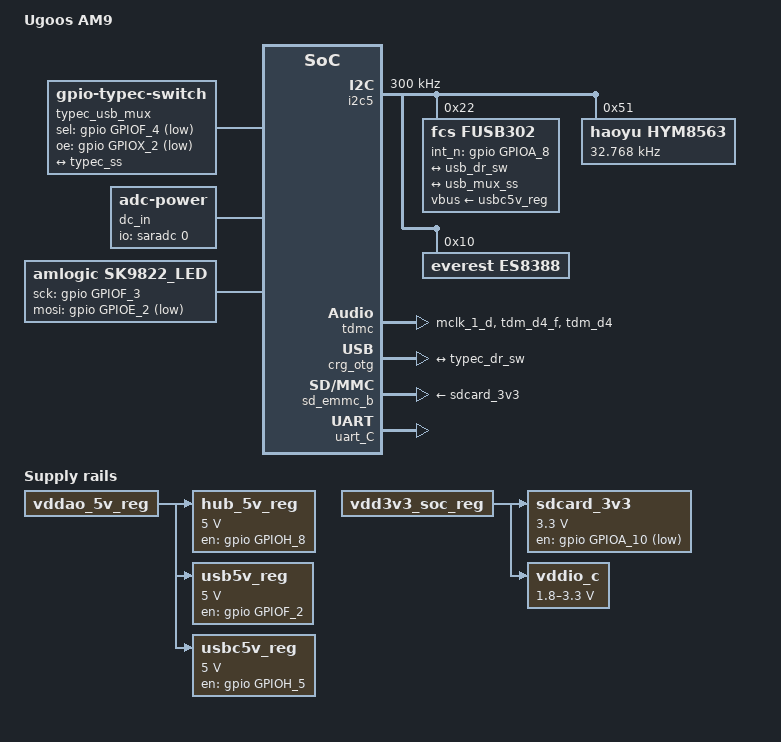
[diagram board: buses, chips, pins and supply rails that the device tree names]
#include "s6_s905x5_bl201.dts"
#include "coreelec_s6_common.dtsi"
#include "dt-bindings/usb/pd.h"

/ {
	model = "Ugoos AM9";
	coreelec-dt-id = "s6_s905x5_ugoos_am9";
	amlogic-dt-id = "s6_s905x5_umx5yks";

	// 4gb
	memory@00000000 {
		device_type = "memory";
		linux,usable-memory = <0x0 0x000000 0x0 0xe0000000
					0x1 0x000000 0x0 0x20000000>;
	};

	auge_sound {
		/delete-property/ avout_mute-gpios;

		aml-audio-card,dai-link@1 {
			codec {
				sound-dai = <&es8388>;
			};
		};
	};

	/delete-node/ gpioleds;

	/delete-node/ fixed@vcc5v_reg;
	/delete-node/ fixed@vcc3v3_reg;

	hub_5v_reg: fixed@hub_5v_reg {
		vin-supply = <&vddao_5v_reg>;
		compatible = "regulator-fixed";
		regulator-name = "HUB_5V";
		regulator-min-microvolt = <5000000>;
		regulator-max-microvolt = <5000000>;
		pinctrl-names = "default";
		gpio = <&gpio GPIOH_8 (GPIO_ACTIVE_HIGH | GPIO_OPEN_DRAIN)>;
		enable-active-high;
		regulator-boot-on;
		regulator-always-on;
	};

	sdcard_3v3: sdcard-3v3 {
		compatible = "regulator-fixed";
		regulator-name = "SD_3V3";
		vin-supply = <&vdd3v3_soc_reg>;
		regulator-min-microvolt = <3300000>;
		regulator-max-microvolt = <3300000>;
		gpio = <&gpio GPIOA_10 GPIO_ACTIVE_LOW>;
		enable-active-low; //3.3V , high: 0V
		regulator-boot-on;
	};

	vddio_c: sdcard-1v8_3v3 {
		compatible = "regulator-gpio";
		regulator-name = "VDDIO_C";
		vin-supply = <&vdd3v3_soc_reg>;
		regulator-min-microvolt = <1800000>;
		regulator-max-microvolt = <3300000>;
		// H: 1.8V, L: 3.3V
		gpio = <&gpio GPIOA_11 GPIO_ACTIVE_HIGH>;
		gpios-states = <0>;

		/* Based on P200 schematics, signal CARD_1.8V/3.3V_CTR */
		states = <1800000 1
			  3300000 0>;
	};

	// usb
	usb5v_reg: fixed@usb5v {
		vin-supply = <&vddao_5v_reg>;
		compatible = "regulator-fixed";
		regulator-name = "USB5V";
		regulator-min-microvolt = <5000000>;
		regulator-max-microvolt = <5000000>;
		pinctrl-names = "default";
		gpio = <&gpio GPIOF_2 GPIO_ACTIVE_HIGH>;
		enable-active-high;
		regulator-boot-on;
		regulator-always-on;
	};

	// usbc
	usbc5v_reg: fixed@usbc5v {
		vin-supply = <&vddao_5v_reg>;
		compatible = "regulator-fixed";
		regulator-name = "USBC5V";
		regulator-min-microvolt = <5000000>;
		regulator-max-microvolt = <5000000>;
		pinctrl-names = "default";
		gpio = <&gpio GPIOH_5 GPIO_ACTIVE_HIGH>;
		enable-active-high;
		early-suspend;
		regulator-boot-on;
		regulator-always-on;
	};

	typec_usb_mux: usb-mux {
		compatible = "gpio-typec-switch";
		sel-gpios = <&gpio GPIOF_4 GPIO_ACTIVE_LOW>;
		oe-gpios = <&gpio GPIOX_2 GPIO_ACTIVE_LOW>;

		orientation-switch;
		port {
			usb_mux_ss: endpoint {
				remote-endpoint = <&typec_ss>;
			};
		};
	};

	dc_in {
		compatible = "adc-power";
		name = "dc_in";
		voltage_k = <8740>;
		io-channels = <&saradc 0>;
		io-channel-names = "voltage";
	};

	gpio_keypad{
		key_num = <1>;
		key_name = "power";
		key_code = <116>;
		key-gpios = <&gpio GPIOD_2 GPIO_ACTIVE_HIGH>;
	};

	led {
		compatible = "amlogic,sk9822_led";
		status = "okay";
		/* SPI mode 3 */
		sck-gpios  = <&gpio GPIOF_3 GPIO_ACTIVE_HIGH>;
		/* inverted value
		   data transmitted is inverted, a requirement
		   specific to this SPI device (reason unknown) */
		mosi-gpios = <&gpio GPIOE_2 GPIO_ACTIVE_LOW>;

		/* brightness R G B */
		active-color   = [01 00 30 00]; /* green */
		suspend-color  = [01 00 00 90]; /* blue */
		shutdown-color = [00 00 00 00]; /* none */
	};
};

&i2c0 {
	/delete-property/ pinctrl-names;
	/delete-property/ pinctrl-0;
};

&i2c5 {
	clock-frequency = <300000>;

	// usbc
	fusb302@22 {
		compatible = "fcs,fusb302";
		reg = <0x22>;
		// hw irq doesn't work
		//interrupt-parent = <&gpio_intc>;
		//interrupts = <GPIOA_8 IRQ_TYPE_LEVEL_LOW>;
		//pinctrl-names = "default";
		//pinctrl-0 = <&fusb302_int>;
		fcs,int_n-gpios = <&gpio GPIOA_8 GPIO_ACTIVE_HIGH>;
		vbus-supply = <&usbc5v_reg>;
		port {
			typec_dr_sw: endpoint {
				remote-endpoint = <&usb_dr_sw>;
			};
		};
		usb_con: connector {
			compatible = "usb-c-connector";
			label = "USB-C";
			data-role = "dual";
			power-role = "dual";
			try-power-role = "source";
			source-pdos = <PDO_FIXED(5000, 1000,
				PDO_FIXED_USB_COMM |
				PDO_FIXED_DUAL_ROLE |
				PDO_FIXED_DATA_SWAP |
				PDO_FIXED_EXTPOWER)>;
			sink-pdos = <PDO_FIXED(5000, 100,
				PDO_FIXED_USB_COMM |
				PDO_FIXED_DUAL_ROLE |
				PDO_FIXED_DATA_SWAP |
				PDO_FIXED_EXTPOWER)>;
			op-sink-microwatt = <1000000>;
			port {
				typec_ss: endpoint {
					remote-endpoint = <&usb_mux_ss>;
				};
			};
		};
	};

	// rtc
	hym8563: hym8563@51 {
		compatible = "haoyu,hym8563";
		reg = <0x51>;
		#clock-cells = <0>;
		clock-frequency = <32768>;
		clock-output-names = "xin32k";
	};

	// codec
	es8388: es8388@10 {
		status = "okay";
		compatible = "everest,es8388";
		#sound-dai-cells = <0>;
		reg = <0x10>;
		def-vol = <0x1d>;
		def-dacvol = <0x0a>;
	};
};

&sd_emmc_c {
	mmc-hs400-1_8v;
};

&tdmc {
	dai-tdm-lane-slot-mask-in = <0 1 0 0>;
	dai-tdm-lane-slot-mask-out = <1 0 0 0>;
	clocks = <&clkaudio CLKID_AUDIO_MCLK_C
			&clkaudio CLKID_AUDIO_MCLK_PAD1
			&clkc CLKID_HIFI_PLL
			&clkc CLKID_HIFI1_PLL>;
	clock-names = "mclk", "mclk_pad", "clk_srcpll", "clk_src_cd";
	pinctrl-0 = <&tdmc_mclk
		&i2s_gpio_d_pins_1
		&i2s_gpio_f_pins
		&tdm_d3_pins
		&tdm_d4_pins
		&tdmc_clk_pins>;
};

&periphs_pinctrl {
	tdmc_mclk: tdmc_mclk {
		mux {
			groups = "mclk_1_d";
			function = "mclk";
		};
	};

	i2s_gpio_f_pins: i2s_gpio_f {
		mux {
			groups = "tdm_d4_f";
			function = "tdm";
		};
	};

	remote_pins: remote_pin {
		mux {
			groups = "ir_remote_in_f1";
			function = "ir_remote";
			bias-disable;
		};
	};
}; /* end of periphs_pinctrl */

&pinctrl_audio {
	tdm_d4_pins: tdm_d4_pin {
		mux {
			groups = "tdm_d4";
			function = "tdminc_lane1";
		};
	};
};

&crg_otg {
	port {
		usb_dr_sw: endpoint {
			remote-endpoint = <&typec_dr_sw>;
		};
	};
};

&usb_phy21 {
	/delete-property/ gpio-vbus-power;
	/delete-property/ gpios;
};

&crg {
	vbus-supply = <&usb5v_reg>;
	early-suspend;
};

&vrtc {
	status = "disabled";
};

&sd_emmc_b {
	sd-uhs-sdr12;
	sd-uhs-sdr25;
	sd-uhs-sdr50;
	sd-uhs-sdr104;
	vmmc-supply = <&sdcard_3v3>;
	vqmmc-supply = <&vddio_c>;
};

&uart_C {
	status = "okay";
};

&amhdmitx {
	vend_data {
		vendor_name = "Ugoos";
		product_desc = "AM9";
	};
};
